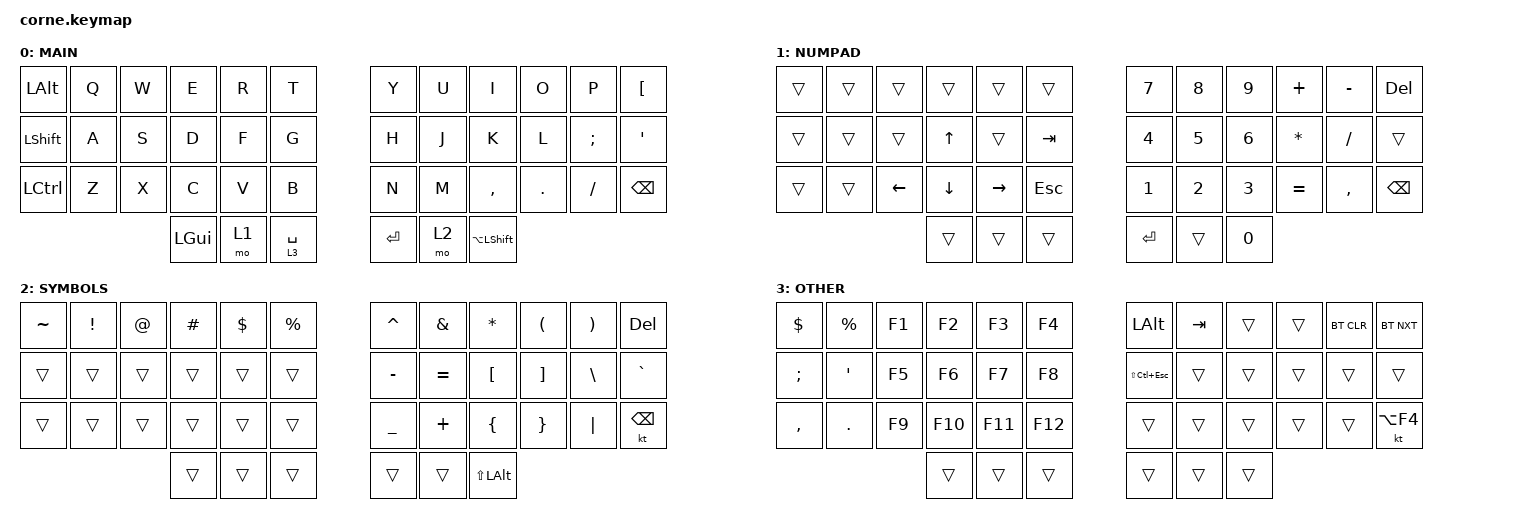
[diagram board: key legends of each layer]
/*
 * Copyright (c) 2020 The ZMK Contributors
 *
 * SPDX-License-Identifier: MIT
 */

#include <behaviors.dtsi>
#include <dt-bindings/zmk/bt.h>
#include <dt-bindings/zmk/keys.h>

/ {
    combos {
        compatible = "zmk,combos";

        tabu {
            bindings = <&kp TAB>;
            key-positions = <0 1 38>;
        };
    };

    keymap {
        compatible = "zmk,keymap";

        MAIN {
            // -----------------------------------------------------------------------------------------
            // |  TAB |  Q  |  W  |  E  |  R  |  T  |   |  Y  |  U   |  I  |  O  |  P  | BKSP |
            // | CTRL |  A  |  S  |  D  |  F  |  G  |   |  H  |  J   |  K  |  L  |  ;  |  '   |
            // | SHFT |  Z  |  X  |  C  |  V  |  B  |   |  N  |  M   |  ,  |  .  |  /  | ESC  |
            //                    | GUI | LWR | SPC |   | ENT | RSE  | ALT |

            bindings = <
&kp LEFT_ALT  &kp Q  &kp W  &kp E     &kp R  &kp T          &kp Y    &kp U  &kp I               &kp O    &kp P     &kp LBKT
&kp LSHFT     &kp A  &kp S  &kp D     &kp F  &kp G          &kp H    &kp J  &kp K               &kp L    &kp SEMI  &kp SQT
&kp LCTRL     &kp Z  &kp X  &kp C     &kp V  &kp B          &kp N    &kp M  &kp COMMA           &kp DOT  &kp FSLH  &kp BSPC
                            &kp LGUI  &mo 1  &lt 3 SPACE    &kp RET  &mo 2  &kp LA(LEFT_SHIFT)
            >;
        };

        NUMPAD {
            // -----------------------------------------------------------------------------------------
            // |  TAB |  1  |  2  |  3  |  4  |  5  |   |  6  |  7  |  8  |  9  |  0  | BKSP |
            // | BTCLR| BT1 | BT2 | BT3 | BT4 | BT5 |   | LFT | DWN |  UP | RGT |     |      |
            // | SHFT |     |     |     |     |     |   |     |     |     |     |     |      |
            //                    | GUI |     | SPC |   | ENT |     | ALT |

            bindings = <
&trans  &trans  &trans          &trans          &trans           &trans     &kp N7     &kp N8  &kp N9  &kp PLUS   &kp MINUS  &kp DELETE
&trans  &trans  &trans          &kp UP_ARROW    &trans           &kp TAB    &kp N4     &kp N5  &kp N6  &kp STAR   &kp FSLH   &trans
&trans  &trans  &kp LEFT_ARROW  &kp DOWN_ARROW  &kp RIGHT_ARROW  &kp ESC    &kp N1     &kp N2  &kp N3  &kp EQUAL  &kp COMMA  &kp BACKSPACE
                                &trans          &trans           &trans     &kp ENTER  &trans  &kp N0
            >;
        };

        SYMBOLS {
            // -----------------------------------------------------------------------------------------
            // |  TAB |  !  |  @  |  #  |  $  |  %  |   |  ^  |  &  |  *  |  (  |  )  | BKSP |
            // | CTRL |     |     |     |     |     |   |  -  |  =  |  [  |  ]  |  \  |  `   |
            // | SHFT |     |     |     |     |     |   |  _  |  +  |  {  |  }  | "|" |  ~   |
            //                    | GUI |     | SPC |   | ENT |     | ALT |

            bindings = <
&kp TILDE  &kp EXCL  &kp AT  &kp HASH  &kp DLLR  &kp PRCNT    &kp CARET  &kp AMPS   &kp ASTRK         &kp LPAR  &kp RPAR  &kp DELETE
&trans     &trans    &trans  &trans    &trans    &trans       &kp MINUS  &kp EQUAL  &kp LBKT          &kp RBKT  &kp BSLH  &kp GRAVE
&trans     &trans    &trans  &trans    &trans    &trans       &kp UNDER  &kp PLUS   &kp LBRC          &kp RBRC  &kp PIPE  &kt BACKSPACE
                             &trans    &trans    &trans       &trans     &trans     &kp LS(LEFT_ALT)
            >;
        };

        OTHER {
            bindings = <
&kp DOLLAR  &kp PERCENT  &kp F1  &kp F2   &kp F3   &kp F4     &kp LEFT_ALT        &kp TAB  &trans  &trans  &bt BT_CLR  &bt BT_NXT
&kp SEMI    &kp APOS     &kp F5  &kp F6   &kp F7   &kp F8     &kp LS(LC(ESCAPE))  &trans   &trans  &trans  &trans      &trans
&kp COMMA   &kp DOT      &kp F9  &kp F10  &kp F11  &kp F12    &trans              &trans   &trans  &trans  &trans      &kt LA(F4)
                                 &trans   &trans   &trans     &trans              &trans   &trans
            >;
        };
    };

    conditional_layers { compatible = "zmk,conditional-layers"; };
};
